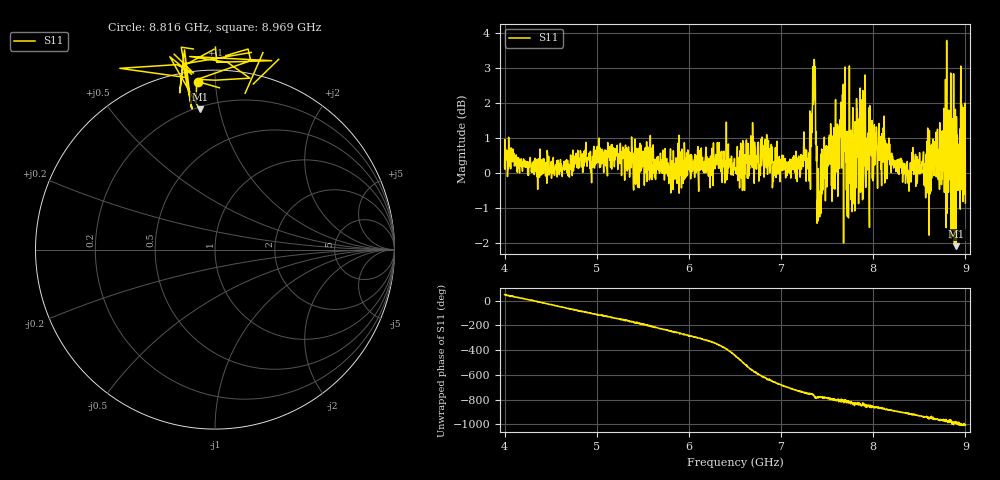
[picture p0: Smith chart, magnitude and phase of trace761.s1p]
! Created with skrf 1.8.0 (http://scikit-rf.org).
# Hz S RI R 50.0
!freq ReS11 ImS11
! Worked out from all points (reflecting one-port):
!   1601 points, 4 GHz to 9 GHz, reference 50 ohm
!   lowest |S11| = -2.1 dB at 8.9 GHz (marker M1), VSWR 8.33, Z = 10.7 + j43.7 ohm
!   phase of S11 starts at 50 deg and turns -1056 deg over the sweep
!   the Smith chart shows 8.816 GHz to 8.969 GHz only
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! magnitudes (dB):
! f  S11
! 4 GHz  0.2
! 4.625 GHz  -0.1
! 5.25 GHz  0.3
! 5.875 GHz  0.4
! 6.5 GHz  0.1
! 6.691 GHz  1.4
! 7.125 GHz  0.1
! 7.294 GHz  0.1
! 7.347 GHz  2.8
! 7.362 GHz  3.2
! 7.4 GHz  0.1
! 7.412 GHz  -0.5
! 7.453 GHz  -0.5
! 7.572 GHz  1.3
! 7.65 GHz  2.0
! 7.75 GHz  0.3
! 7.784 GHz  0.5
! 7.844 GHz  0.5
! 7.891 GHz  -0.7
! 7.944 GHz  1.1
! 8.119 GHz  1.6
! 8.375 GHz  -0.3
! 8.441 GHz  0.0
! 8.581 GHz  -0.3
! 8.8 GHz  0.4
! 8.9 GHz  -2.1
! 8.972 GHz  0.7
! 9 GHz  -0.9
